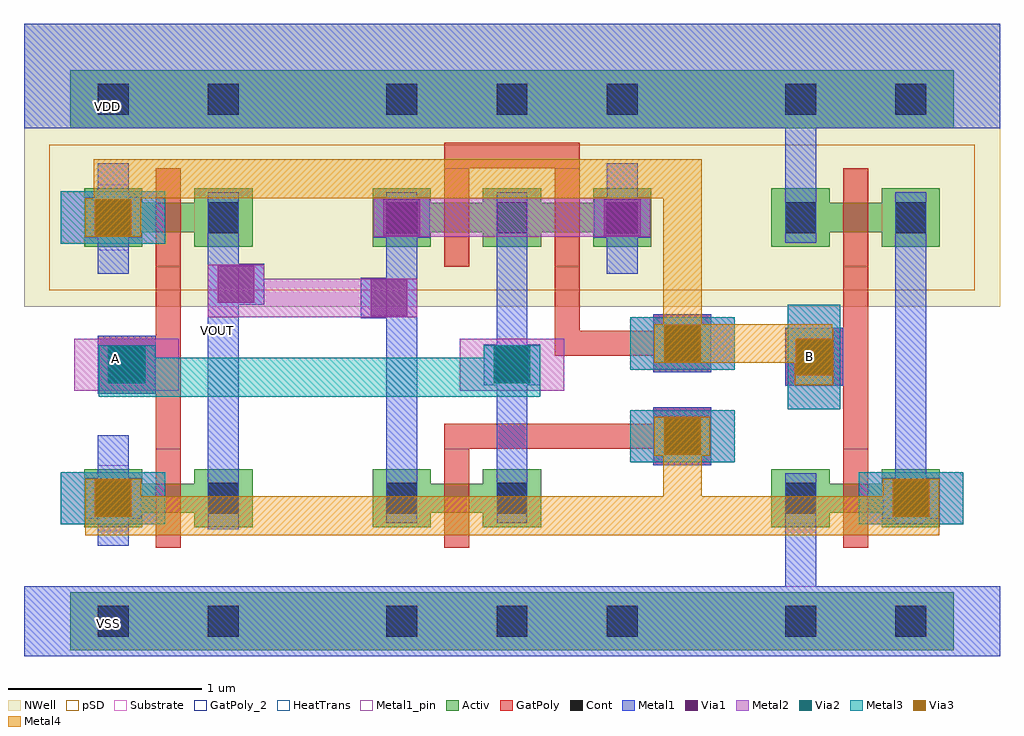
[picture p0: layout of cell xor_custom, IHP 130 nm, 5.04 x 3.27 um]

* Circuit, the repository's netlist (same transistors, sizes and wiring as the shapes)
* Extracted by KLayout with SG13G2 LVS runset on : 02/03/2026 17:46

.SUBCKT xor_custom A B VOUT VSS VDD
X$1 VSS A \$2 VOUT B VDD tg_custom
X$2 VDD A VSS \$2 VOUT B inv_xor
X$3 VDD B VSS \$2 inv
.ENDS xor_custom

.SUBCKT inv_xor VBP VIN VBN VSS VOUT VDD
M$1 VSS VIN VOUT VBN sg13_lv_nmos L=0.13u W=0.15u AS=0.1005p AD=0.1005p
+ PS=1.34u PD=1.34u
M$2 VDD VIN VOUT VBP sg13_lv_pmos L=0.13u W=0.15u AS=0.1005p AD=0.1005p
+ PS=1.34u PD=1.34u
.ENDS inv_xor

.SUBCKT tg_custom VBN VOUT VSN VIN VSP VBP
M$1 VIN VSN VOUT VBN sg13_lv_nmos L=0.13u W=0.15u AS=0.1005p AD=0.1005p
+ PS=1.34u PD=1.34u
M$2 VIN VSP VOUT VBP sg13_lv_pmos L=0.13u W=0.3u AS=0.156p AD=0.156p PS=2.08u
+ PD=2.08u
.ENDS tg_custom

.SUBCKT inv VDD VIN VSS VOUT
M$1 VSS VIN VOUT VSS sg13_lv_nmos L=0.13u W=0.15u AS=0.1005p AD=0.1005p
+ PS=1.34u PD=1.34u
M$2 VDD VIN VOUT VDD sg13_lv_pmos L=0.13u W=0.15u AS=0.1005p AD=0.1005p
+ PS=1.34u PD=1.34u
.ENDS inv

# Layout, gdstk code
import gdstk
lib = gdstk.Library(unit=1e-6, precision=5e-09)
def R(c, l, rs):  # rectangles x0, y0, x1, y1
    for r in rs: c.add(gdstk.rectangle(r[:2], r[2:], *l))
def A(c, l, x, y, w, h, nx, ny, dx, dy):  # array of equal rectangles
    R(c, l, [(x+i*dx, y+j*dy, x+i*dx+w, y+j*dy+h) for i in range(nx) for j in range(ny)])
Activ = (1, 0)
GatPoly = (5, 0)
GatPoly_2 = (5, 2)
Cont = (6, 0)
Metal1 = (8, 0)
Metal1_pin = (8, 2)
Metal2 = (10, 0)
pSD = (14, 0)
Via1 = (19, 0)
Via2 = (29, 0)
Metal3 = (30, 0)
NWell = (31, 0)
Substrate = (40, 0)
Via3 = (49, 0)
Metal4 = (50, 0)
HeatTrans = (51, 0)

pmos_1 = lib.new_cell('pmos$1')
R(pmos_1, Activ, [(0,0,0.3,0.3), (0.57,0,0.87,0.3), (0,0.075,0.87,0.225)])
R(pmos_1, GatPoly, [(0.37,-0.105,0.5,0.405), (0.37,-0.105,0.5,0.405)])
R(pmos_1, Cont, [(0.07,0.07,0.23,0.23), (0.64,0.07,0.8,0.23)])
R(pmos_1, Metal1, [(0.07,0.02,0.23,0.28), (0.07,0.02,0.23,0.28), (0.64,0.02,0.8,0.28), (0.64,0.02,0.8,0.28)])
R(pmos_1, pSD, [(-0.18,-0.225,1.05,0.525)])
R(pmos_1, NWell, [(-0.31,-0.31,1.18,0.61)])
R(pmos_1, Substrate, [(0.57,0,0.87,0.3)])
R(pmos_1, HeatTrans, [(0.37,-0.105,0.5,0.405)])
pmos_1.add(gdstk.Label('pmos', (0.435,0.15), layer=63, texttype=0))
pmos_1.add(gdstk.Label('pmos', (0.435,0.15), layer=51, texttype=0))

nmos_1 = lib.new_cell('nmos$1')
R(nmos_1, Activ, [(0,0,0.3,0.3), (0.57,0,0.87,0.3), (0,0.075,0.87,0.225)])
R(nmos_1, GatPoly, [(0.37,-0.105,0.5,0.405)])
R(nmos_1, GatPoly_2, [(0.37,-0.105,0.5,0.405)])
R(nmos_1, Cont, [(0.07,0.07,0.23,0.23), (0.64,0.07,0.8,0.23)])
R(nmos_1, Metal1, [(0.07,0.02,0.23,0.28), (0.64,0.02,0.8,0.28)])
R(nmos_1, Metal1_pin, [(0.07,0.02,0.23,0.28), (0.64,0.02,0.8,0.28)])
R(nmos_1, HeatTrans, [(0.37,-0.105,0.5,0.405)])
nmos_1.add(gdstk.Label('nmos', (0.435,0.15), layer=63, texttype=0))
nmos_1.add(gdstk.Label('nmos', (0.435,0.15), layer=51, texttype=0))

pmos_1_1 = lib.new_cell('pmos$1$1')
R(pmos_1_1, Activ, [(0,0,0.3,0.3), (0.57,0,0.87,0.3), (0,0.075,0.87,0.225)])
R(pmos_1_1, GatPoly, [(0.37,-0.105,0.5,0.405), (0.37,-0.105,0.5,0.405)])
R(pmos_1_1, Cont, [(0.07,0.07,0.23,0.23), (0.64,0.07,0.8,0.23)])
R(pmos_1_1, Metal1, [(0.07,0.02,0.23,0.28), (0.07,0.02,0.23,0.28), (0.64,0.02,0.8,0.28), (0.64,0.02,0.8,0.28)])
R(pmos_1_1, pSD, [(-0.18,-0.225,1.05,0.525)])
R(pmos_1_1, NWell, [(-0.31,-0.31,1.18,0.61)])
R(pmos_1_1, Substrate, [(0.57,0,0.87,0.3)])
R(pmos_1_1, HeatTrans, [(0.37,-0.105,0.5,0.405)])
pmos_1_1.add(gdstk.Label('pmos', (0.435,0.15), layer=63, texttype=0))
pmos_1_1.add(gdstk.Label('pmos', (0.435,0.15), layer=51, texttype=0))

nmos_1_1 = lib.new_cell('nmos$1$1')
R(nmos_1_1, Activ, [(0,0,0.3,0.3), (0.57,0,0.87,0.3), (0,0.075,0.87,0.225)])
R(nmos_1_1, GatPoly, [(0.37,-0.105,0.5,0.405)])
R(nmos_1_1, GatPoly_2, [(0.37,-0.105,0.5,0.405)])
R(nmos_1_1, Cont, [(0.07,0.07,0.23,0.23), (0.64,0.07,0.8,0.23)])
R(nmos_1_1, Metal1, [(0.07,0.02,0.23,0.28), (0.64,0.02,0.8,0.28)])
R(nmos_1_1, Metal1_pin, [(0.07,0.02,0.23,0.28), (0.64,0.02,0.8,0.28)])
R(nmos_1_1, HeatTrans, [(0.37,-0.105,0.5,0.405)])
nmos_1_1.add(gdstk.Label('nmos', (0.435,0.15), layer=63, texttype=0))
nmos_1_1.add(gdstk.Label('nmos', (0.435,0.15), layer=51, texttype=0))

inv = lib.new_cell('inv')
R(inv, Activ, [(0.48,-0.04,1.49,0.26), (0.48,-0.04,1.49,0.26), (0.48,2.655,1.49,2.955), (0.48,2.655,1.49,2.955)])
R(inv, GatPoly, [(0.92,0.76,1.05,2.45), (0.92,0.76,1.05,2.45), (0.62,1.325,0.92,1.625), (0.62,1.325,0.92,1.625)])
R(inv, Cont, [(0.62,0.03,0.78,0.19), (0.62,0.03,0.78,0.19), (1.19,0.03,1.35,0.19), (1.19,0.03,1.35,0.19), (0.69,1.395,0.85,1.555), (0.69,1.395,0.85,1.555), (0.62,2.725,0.78,2.885), (0.62,2.725,0.78,2.885), (1.19,2.725,1.35,2.885), (1.19,2.725,1.35,2.885)])
R(inv, Metal1, [(0.24,-0.07,1.73,0.29), (0.24,-0.07,1.73,0.29), (0.62,-0.04,0.78,0.875), (0.62,-0.04,0.78,0.875), (1.19,0.615,1.35,2.325), (1.19,0.615,1.35,2.325), (0.62,1.325,0.92,1.625), (0.62,1.325,0.92,1.625), (0.62,2.065,0.78,2.955), (0.62,2.065,0.78,2.955), (0.24,2.655,1.73,3.195), (0.24,2.655,1.73,3.195)])
R(inv, Metal1_pin, [(0.24,-0.07,1.73,0.29), (0.24,-0.07,1.73,0.29), (1.19,0.615,1.35,2.325), (1.19,0.615,1.35,2.325), (0.62,1.325,0.92,1.625), (0.62,1.325,0.92,1.625), (0.24,2.655,1.73,3.195), (0.24,2.655,1.73,3.195)])
R(inv, pSD, [(0.24,-0.07,1.73,0.29), (0.24,-0.07,1.73,0.29)])
R(inv, NWell, [(0.24,2.655,1.73,3.195), (0.24,2.655,1.73,3.195)])
inv.add(gdstk.Reference(pmos_1, (0.55,2.045)))
inv.add(gdstk.Reference(nmos_1, (0.55,0.595)))
inv.add(gdstk.Reference(pmos_1_1, (0.55,2.045)))
inv.add(gdstk.Reference(nmos_1_1, (0.55,0.595)))
inv.add(gdstk.Label('VSS', (0.64,0.09), layer=8, texttype=25))
inv.add(gdstk.Label('VDD', (0.675,2.805), layer=8, texttype=25))
inv.add(gdstk.Label('VIN', (0.73,1.475), layer=8, texttype=25))
inv.add(gdstk.Label('VOUT', (1.2,1.665), layer=8, texttype=25))
inv.add(gdstk.Label('VSS', (0.64,0.09), layer=8, texttype=25))
inv.add(gdstk.Label('VDD', (0.675,2.805), layer=8, texttype=25))
inv.add(gdstk.Label('VIN', (0.73,1.475), layer=8, texttype=25))
inv.add(gdstk.Label('VOUT', (1.2,1.665), layer=8, texttype=25))

nmos = lib.new_cell('nmos')
R(nmos, Activ, [(0,0,0.3,0.3), (0.57,0,0.87,0.3), (0,0.075,0.87,0.225)])
R(nmos, GatPoly, [(0.37,-0.105,0.5,0.405)])
R(nmos, GatPoly_2, [(0.37,-0.105,0.5,0.405)])
R(nmos, Cont, [(0.07,0.07,0.23,0.23), (0.64,0.07,0.8,0.23)])
R(nmos, Metal1, [(0.07,0.02,0.23,0.28), (0.64,0.02,0.8,0.28)])
R(nmos, Metal1_pin, [(0.07,0.02,0.23,0.28), (0.64,0.02,0.8,0.28)])
R(nmos, HeatTrans, [(0.37,-0.105,0.5,0.405)])
nmos.add(gdstk.Label('nmos', (0.435,0.15), layer=63, texttype=0))
nmos.add(gdstk.Label('nmos', (0.435,0.15), layer=51, texttype=0))

pmos = lib.new_cell('pmos')
A(pmos, Activ, 0, 0, 0.3, 0.3, 3, 1, 0.57, 0)
R(pmos, Activ, [(0,0.075,1.44,0.225)])
R(pmos, GatPoly, [(0.37,-0.105,0.5,0.405), (0.37,-0.105,0.5,0.405), (0.94,-0.105,1.07,0.405)])
A(pmos, Cont, 0.07, 0.07, 0.16, 0.16, 3, 1, 0.57, 0)
R(pmos, Metal1, [(0.07,0.02,0.23,0.28), (0.07,0.02,0.23,0.28), (0.64,0.02,0.8,0.28), (0.64,0.02,0.8,0.28), (1.21,0.02,1.37,0.28)])
R(pmos, pSD, [(-0.18,-0.225,1.62,0.525)])
R(pmos, NWell, [(-0.31,-0.31,1.75,0.61)])
R(pmos, Substrate, [(1.14,0,1.44,0.3)])
R(pmos, HeatTrans, [(0.37,-0.105,0.5,0.405), (0.94,-0.105,1.07,0.405)])
pmos.add(gdstk.Label('pmos', (0.435,0.15), layer=63, texttype=0))
pmos.add(gdstk.Label('pmos', (0.435,0.15), layer=51, texttype=0))
pmos.add(gdstk.Label('pmos', (1.005,0.15), layer=51, texttype=0))

nmos_1_2 = lib.new_cell('nmos$1$2')
R(nmos_1_2, Activ, [(0,0,0.3,0.3), (0.57,0,0.87,0.3), (0,0.075,0.87,0.225)])
R(nmos_1_2, GatPoly, [(0.37,-0.105,0.5,0.405)])
R(nmos_1_2, GatPoly_2, [(0.37,-0.105,0.5,0.405)])
R(nmos_1_2, Cont, [(0.07,0.07,0.23,0.23), (0.64,0.07,0.8,0.23)])
R(nmos_1_2, Metal1, [(0.07,0.02,0.23,0.28), (0.64,0.02,0.8,0.28)])
R(nmos_1_2, Metal1_pin, [(0.07,0.02,0.23,0.28), (0.64,0.02,0.8,0.28)])
R(nmos_1_2, HeatTrans, [(0.37,-0.105,0.5,0.405)])
nmos_1_2.add(gdstk.Label('nmos', (0.435,0.15), layer=63, texttype=0))
nmos_1_2.add(gdstk.Label('nmos', (0.435,0.15), layer=51, texttype=0))

pmos_1_2 = lib.new_cell('pmos$1$2')
A(pmos_1_2, Activ, 0, 0, 0.3, 0.3, 3, 1, 0.57, 0)
R(pmos_1_2, Activ, [(0,0.075,1.44,0.225)])
R(pmos_1_2, GatPoly, [(0.37,-0.105,0.5,0.405), (0.37,-0.105,0.5,0.405), (0.94,-0.105,1.07,0.405)])
A(pmos_1_2, Cont, 0.07, 0.07, 0.16, 0.16, 3, 1, 0.57, 0)
R(pmos_1_2, Metal1, [(0.07,0.02,0.23,0.28), (0.07,0.02,0.23,0.28), (0.64,0.02,0.8,0.28), (0.64,0.02,0.8,0.28), (1.21,0.02,1.37,0.28)])
R(pmos_1_2, pSD, [(-0.18,-0.225,1.62,0.525)])
R(pmos_1_2, NWell, [(-0.31,-0.31,1.75,0.61)])
R(pmos_1_2, Substrate, [(1.14,0,1.44,0.3)])
R(pmos_1_2, HeatTrans, [(0.37,-0.105,0.5,0.405), (0.94,-0.105,1.07,0.405)])
pmos_1_2.add(gdstk.Label('pmos', (0.435,0.15), layer=63, texttype=0))
pmos_1_2.add(gdstk.Label('pmos', (0.435,0.15), layer=51, texttype=0))
pmos_1_2.add(gdstk.Label('pmos', (1.005,0.15), layer=51, texttype=0))

nmos_2 = lib.new_cell('nmos$2')
R(nmos_2, Activ, [(0,0,0.3,0.3), (0.57,0,0.87,0.3), (0,0.075,0.87,0.225)])
R(nmos_2, GatPoly, [(0.37,-0.105,0.5,0.405)])
R(nmos_2, GatPoly_2, [(0.37,-0.105,0.5,0.405)])
R(nmos_2, Cont, [(0.07,0.07,0.23,0.23), (0.64,0.07,0.8,0.23)])
R(nmos_2, Metal1, [(0.07,0.02,0.23,0.28), (0.64,0.02,0.8,0.28)])
R(nmos_2, Metal1_pin, [(0.07,0.02,0.23,0.28), (0.64,0.02,0.8,0.28)])
R(nmos_2, HeatTrans, [(0.37,-0.105,0.5,0.405)])
nmos_2.add(gdstk.Label('nmos', (0.435,0.15), layer=63, texttype=0))
nmos_2.add(gdstk.Label('nmos', (0.435,0.15), layer=51, texttype=0))

pmos_2 = lib.new_cell('pmos$2')
A(pmos_2, Activ, 0, 0, 0.3, 0.3, 3, 1, 0.57, 0)
R(pmos_2, Activ, [(0,0.075,1.44,0.225)])
R(pmos_2, GatPoly, [(0.37,-0.105,0.5,0.405), (0.37,-0.105,0.5,0.405), (0.94,-0.105,1.07,0.405)])
A(pmos_2, Cont, 0.07, 0.07, 0.16, 0.16, 3, 1, 0.57, 0)
R(pmos_2, Metal1, [(0.07,0.02,0.23,0.28), (0.07,0.02,0.23,0.28), (0.64,0.02,0.8,0.28), (0.64,0.02,0.8,0.28), (1.21,0.02,1.37,0.28)])
R(pmos_2, pSD, [(-0.18,-0.225,1.62,0.525)])
R(pmos_2, NWell, [(-0.31,-0.31,1.75,0.61)])
R(pmos_2, Substrate, [(1.14,0,1.44,0.3)])
R(pmos_2, HeatTrans, [(0.37,-0.105,0.5,0.405), (0.94,-0.105,1.07,0.405)])
pmos_2.add(gdstk.Label('pmos', (0.435,0.15), layer=63, texttype=0))
pmos_2.add(gdstk.Label('pmos', (0.435,0.15), layer=51, texttype=0))
pmos_2.add(gdstk.Label('pmos', (1.005,0.15), layer=51, texttype=0))

nmos_1_3 = lib.new_cell('nmos$1$3')
R(nmos_1_3, Activ, [(0,0,0.3,0.3), (0.57,0,0.87,0.3), (0,0.075,0.87,0.225)])
R(nmos_1_3, GatPoly, [(0.37,-0.105,0.5,0.405)])
R(nmos_1_3, GatPoly_2, [(0.37,-0.105,0.5,0.405)])
R(nmos_1_3, Cont, [(0.07,0.07,0.23,0.23), (0.64,0.07,0.8,0.23)])
R(nmos_1_3, Metal1, [(0.07,0.02,0.23,0.28), (0.64,0.02,0.8,0.28)])
R(nmos_1_3, Metal1_pin, [(0.07,0.02,0.23,0.28), (0.64,0.02,0.8,0.28)])
R(nmos_1_3, HeatTrans, [(0.37,-0.105,0.5,0.405)])
nmos_1_3.add(gdstk.Label('nmos', (0.435,0.15), layer=63, texttype=0))
nmos_1_3.add(gdstk.Label('nmos', (0.435,0.15), layer=51, texttype=0))

pmos_1_3 = lib.new_cell('pmos$1$3')
A(pmos_1_3, Activ, 0, 0, 0.3, 0.3, 3, 1, 0.57, 0)
R(pmos_1_3, Activ, [(0,0.075,1.44,0.225)])
R(pmos_1_3, GatPoly, [(0.37,-0.105,0.5,0.405), (0.37,-0.105,0.5,0.405), (0.94,-0.105,1.07,0.405)])
A(pmos_1_3, Cont, 0.07, 0.07, 0.16, 0.16, 3, 1, 0.57, 0)
R(pmos_1_3, Metal1, [(0.07,0.02,0.23,0.28), (0.07,0.02,0.23,0.28), (0.64,0.02,0.8,0.28), (0.64,0.02,0.8,0.28), (1.21,0.02,1.37,0.28)])
R(pmos_1_3, pSD, [(-0.18,-0.225,1.62,0.525)])
R(pmos_1_3, NWell, [(-0.31,-0.31,1.75,0.61)])
R(pmos_1_3, Substrate, [(1.14,0,1.44,0.3)])
R(pmos_1_3, HeatTrans, [(0.37,-0.105,0.5,0.405), (0.94,-0.105,1.07,0.405)])
pmos_1_3.add(gdstk.Label('pmos', (0.435,0.15), layer=63, texttype=0))
pmos_1_3.add(gdstk.Label('pmos', (0.435,0.15), layer=51, texttype=0))
pmos_1_3.add(gdstk.Label('pmos', (1.005,0.15), layer=51, texttype=0))

tg_custom = lib.new_cell('tg_custom')
R(tg_custom, Activ, [(0.445,0.87,2.025,1.17), (0.445,0.87,2.025,1.17), (0.445,0.87,2.025,1.17), (0.445,0.87,2.025,1.17), (0.445,3.565,2.025,3.865), (0.445,3.565,2.025,3.865), (0.445,3.565,2.025,3.865), (0.445,3.565,2.025,3.865)])
R(tg_custom, GatPoly, [(1.965,1.825,2.265,2.125), (1.965,1.825,2.265,2.125), (1.965,1.825,2.265,2.125), (1.965,1.825,2.265,2.125), (0.885,1.91,1.965,2.04), (0.885,1.91,1.965,2.04), (0.885,1.91,1.965,2.04), (0.885,1.91,1.965,2.04), (1.965,2.305,2.265,2.605), (1.965,2.305,2.265,2.605), (1.965,2.305,2.265,2.605), (1.965,2.305,2.265,2.605), (1.455,2.39,1.585,2.85), (1.455,2.39,1.585,2.85), (1.455,2.39,1.585,2.85), (1.455,2.39,1.585,2.85), (1.455,2.39,1.965,2.52), (1.455,2.39,1.965,2.52), (1.455,2.39,1.965,2.52), (1.455,2.39,1.965,2.52), (0.885,3.36,1.585,3.49), (0.885,3.36,1.585,3.49), (0.885,3.36,1.585,3.49), (0.885,3.36,1.585,3.49)])
R(tg_custom, Cont, [(0.585,0.94,0.745,1.1), (0.585,0.94,0.745,1.1), (0.585,0.94,0.745,1.1), (0.585,0.94,0.745,1.1), (1.155,0.94,1.315,1.1), (1.155,0.94,1.315,1.1), (1.155,0.94,1.315,1.1), (1.155,0.94,1.315,1.1), (1.725,0.94,1.885,1.1), (1.725,0.94,1.885,1.1), (1.725,0.94,1.885,1.1), (1.725,0.94,1.885,1.1), (2.035,1.895,2.195,2.055), (2.035,1.895,2.195,2.055), (2.035,1.895,2.195,2.055), (2.035,1.895,2.195,2.055), (2.035,2.375,2.195,2.535), (2.035,2.375,2.195,2.535), (2.035,2.375,2.195,2.535), (2.035,2.375,2.195,2.535), (0.585,3.635,0.745,3.795), (0.585,3.635,0.745,3.795), (0.585,3.635,0.745,3.795), (0.585,3.635,0.745,3.795), (1.155,3.635,1.315,3.795), (1.155,3.635,1.315,3.795), (1.155,3.635,1.315,3.795), (1.155,3.635,1.315,3.795), (1.725,3.635,1.885,3.795), (1.725,3.635,1.885,3.795), (1.725,3.635,1.885,3.795), (1.725,3.635,1.885,3.795)])
R(tg_custom, Metal1, [(0.205,0.84,2.265,1.2), (0.205,0.84,2.265,1.2), (0.205,0.84,2.265,1.2), (0.205,0.84,2.265,1.2), (0.585,1.525,0.745,3.235), (0.585,1.525,0.745,3.235), (0.585,1.525,0.745,3.235), (0.585,1.525,0.745,3.235), (1.155,1.525,1.315,3.235), (1.155,1.525,1.315,3.235), (1.155,1.525,1.315,3.235), (1.155,1.525,1.315,3.235), (1.965,1.825,2.265,2.125), (1.965,1.825,2.265,2.125), (1.965,1.825,2.265,2.125), (1.965,1.825,2.265,2.125), (1.965,2.305,2.265,2.605), (1.965,2.305,2.265,2.605), (1.965,2.305,2.265,2.605), (1.965,2.305,2.265,2.605), (1.725,2.815,1.885,3.385), (1.725,2.815,1.885,3.385), (1.725,2.815,1.885,3.385), (1.725,2.815,1.885,3.385), (0.52,3,0.81,3.21), (0.52,3,0.81,3.21), (0.52,3,0.81,3.21), (0.52,3,0.81,3.21), (1.66,3,1.95,3.21), (1.66,3,1.95,3.21), (1.66,3,1.95,3.21), (1.66,3,1.95,3.21), (0.205,3.565,2.265,4.105), (0.205,3.565,2.265,4.105), (0.205,3.565,2.265,4.105), (0.205,3.565,2.265,4.105)])
R(tg_custom, Metal1_pin, [(0.205,0.84,2.265,1.2), (0.205,0.84,2.265,1.2), (0.205,0.84,2.265,1.2), (0.205,0.84,2.265,1.2), (0.585,1.525,0.745,3.235), (0.585,1.525,0.745,3.235), (0.585,1.525,0.745,3.235), (0.585,1.525,0.745,3.235), (1.155,1.525,1.315,3.235), (1.155,1.525,1.315,3.235), (1.155,1.525,1.315,3.235), (1.155,1.525,1.315,3.235), (1.965,1.825,2.265,2.125), (1.965,1.825,2.265,2.125), (1.965,1.825,2.265,2.125), (1.965,1.825,2.265,2.125), (1.965,2.305,2.265,2.605), (1.965,2.305,2.265,2.605), (1.965,2.305,2.265,2.605), (1.965,2.305,2.265,2.605), (0.205,3.565,2.265,4.105), (0.205,3.565,2.265,4.105), (0.205,3.565,2.265,4.105), (0.205,3.565,2.265,4.105)])
R(tg_custom, Metal2, [(0.52,3.005,1.95,3.205), (0.52,3.005,1.95,3.205), (0.52,3.005,1.95,3.205), (0.52,3.005,1.95,3.205), (0.52,3.005,0.81,3.205), (0.52,3.005,0.81,3.205), (0.52,3.005,0.81,3.205), (0.52,3.005,0.81,3.205), (1.66,3.005,1.95,3.205), (1.66,3.005,1.95,3.205), (1.66,3.005,1.95,3.205), (1.66,3.005,1.95,3.205)])
R(tg_custom, pSD, [(0.205,0.84,2.265,1.2), (0.205,0.84,2.265,1.2), (0.205,0.84,2.265,1.2), (0.205,0.84,2.265,1.2)])
R(tg_custom, Via1, [(0.57,3.01,0.76,3.2), (0.57,3.01,0.76,3.2), (0.57,3.01,0.76,3.2), (0.57,3.01,0.76,3.2), (1.71,3.01,1.9,3.2), (1.71,3.01,1.9,3.2), (1.71,3.01,1.9,3.2), (1.71,3.01,1.9,3.2)])
R(tg_custom, NWell, [(0.205,3.565,2.265,4.105), (0.205,3.565,2.265,4.105), (0.205,3.565,2.265,4.105), (0.205,3.565,2.265,4.105)])
tg_custom.add(gdstk.Reference(nmos, (0.515,1.505)))
tg_custom.add(gdstk.Reference(pmos, (0.515,2.955)))
tg_custom.add(gdstk.Reference(nmos_1_2, (0.515,1.505)))
tg_custom.add(gdstk.Reference(pmos_1_2, (0.515,2.955)))
tg_custom.add(gdstk.Reference(nmos_2, (0.515,1.505)))
tg_custom.add(gdstk.Reference(pmos_2, (0.515,2.955)))
tg_custom.add(gdstk.Reference(nmos_1_3, (0.515,1.505)))
tg_custom.add(gdstk.Reference(pmos_1_3, (0.515,2.955)))
tg_custom.add(gdstk.Label('VBN', (1.335,1.02), layer=8, texttype=25))
tg_custom.add(gdstk.Label('VOUT', (1.16,1.98), layer=8, texttype=25))
tg_custom.add(gdstk.Label('VSP', (2.115,2.455), layer=8, texttype=25))
tg_custom.add(gdstk.Label('VIN', (0.6,3.21), layer=8, texttype=25))
tg_custom.add(gdstk.Label('VSN', (2.115,1.975), layer=8, texttype=25))
tg_custom.add(gdstk.Label('VBP', (1.235,3.715), layer=8, texttype=25))
tg_custom.add(gdstk.Label('VBN', (1.335,1.02), layer=8, texttype=25))
tg_custom.add(gdstk.Label('VOUT', (1.16,1.98), layer=8, texttype=25))
tg_custom.add(gdstk.Label('VSP', (2.115,2.455), layer=8, texttype=25))
tg_custom.add(gdstk.Label('VIN', (0.6,3.21), layer=8, texttype=25))
tg_custom.add(gdstk.Label('VSN', (2.115,1.975), layer=8, texttype=25))
tg_custom.add(gdstk.Label('VBP', (1.235,3.715), layer=8, texttype=25))
tg_custom.add(gdstk.Label('VBN', (1.335,1.02), layer=8, texttype=25))
tg_custom.add(gdstk.Label('VOUT', (1.16,1.98), layer=8, texttype=25))
tg_custom.add(gdstk.Label('VSP', (2.115,2.455), layer=8, texttype=25))
tg_custom.add(gdstk.Label('VIN', (0.6,3.21), layer=8, texttype=25))
tg_custom.add(gdstk.Label('VSN', (2.115,1.975), layer=8, texttype=25))
tg_custom.add(gdstk.Label('VBP', (1.235,3.715), layer=8, texttype=25))
tg_custom.add(gdstk.Label('VBN', (1.335,1.02), layer=8, texttype=25))
tg_custom.add(gdstk.Label('VOUT', (1.16,1.98), layer=8, texttype=25))
tg_custom.add(gdstk.Label('VSP', (2.115,2.455), layer=8, texttype=25))
tg_custom.add(gdstk.Label('VIN', (0.6,3.21), layer=8, texttype=25))
tg_custom.add(gdstk.Label('VSN', (2.115,1.975), layer=8, texttype=25))
tg_custom.add(gdstk.Label('VBP', (1.235,3.715), layer=8, texttype=25))

pmos_3 = lib.new_cell('pmos$3')
R(pmos_3, Activ, [(0,0,0.3,0.3), (0.57,0,0.87,0.3), (0,0.075,0.87,0.225)])
R(pmos_3, GatPoly, [(0.37,-0.105,0.5,0.405), (0.37,-0.105,0.5,0.405)])
R(pmos_3, Cont, [(0.07,0.07,0.23,0.23), (0.64,0.07,0.8,0.23)])
R(pmos_3, Metal1, [(0.07,0.02,0.23,0.28), (0.07,0.02,0.23,0.28), (0.64,0.02,0.8,0.28), (0.64,0.02,0.8,0.28)])
R(pmos_3, pSD, [(-0.18,-0.225,1.05,0.525)])
R(pmos_3, NWell, [(-0.31,-0.31,1.18,0.61)])
R(pmos_3, Substrate, [(0.57,0,0.87,0.3)])
R(pmos_3, HeatTrans, [(0.37,-0.105,0.5,0.405)])
pmos_3.add(gdstk.Label('pmos', (0.435,0.15), layer=63, texttype=0))
pmos_3.add(gdstk.Label('pmos', (0.435,0.15), layer=51, texttype=0))

nmos_3 = lib.new_cell('nmos$3')
R(nmos_3, Activ, [(0,0,0.3,0.3), (0.57,0,0.87,0.3), (0,0.075,0.87,0.225)])
R(nmos_3, GatPoly, [(0.37,-0.105,0.5,0.405)])
R(nmos_3, GatPoly_2, [(0.37,-0.105,0.5,0.405)])
R(nmos_3, Cont, [(0.07,0.07,0.23,0.23), (0.64,0.07,0.8,0.23)])
R(nmos_3, Metal1, [(0.07,0.02,0.23,0.28), (0.64,0.02,0.8,0.28)])
R(nmos_3, Metal1_pin, [(0.07,0.02,0.23,0.28), (0.64,0.02,0.8,0.28)])
R(nmos_3, HeatTrans, [(0.37,-0.105,0.5,0.405)])
nmos_3.add(gdstk.Label('nmos', (0.435,0.15), layer=63, texttype=0))
nmos_3.add(gdstk.Label('nmos', (0.435,0.15), layer=51, texttype=0))

pmos_4 = lib.new_cell('pmos$4')
R(pmos_4, Activ, [(0,0,0.3,0.3), (0.57,0,0.87,0.3), (0,0.075,0.87,0.225)])
R(pmos_4, GatPoly, [(0.37,-0.105,0.5,0.405), (0.37,-0.105,0.5,0.405)])
R(pmos_4, Cont, [(0.07,0.07,0.23,0.23), (0.64,0.07,0.8,0.23)])
R(pmos_4, Metal1, [(0.07,0.02,0.23,0.28), (0.07,0.02,0.23,0.28), (0.64,0.02,0.8,0.28), (0.64,0.02,0.8,0.28)])
R(pmos_4, pSD, [(-0.18,-0.225,1.05,0.525)])
R(pmos_4, NWell, [(-0.31,-0.31,1.18,0.61)])
R(pmos_4, Substrate, [(0.57,0,0.87,0.3)])
R(pmos_4, HeatTrans, [(0.37,-0.105,0.5,0.405)])
pmos_4.add(gdstk.Label('pmos', (0.435,0.15), layer=63, texttype=0))
pmos_4.add(gdstk.Label('pmos', (0.435,0.15), layer=51, texttype=0))

nmos_4 = lib.new_cell('nmos$4')
R(nmos_4, Activ, [(0,0,0.3,0.3), (0.57,0,0.87,0.3), (0,0.075,0.87,0.225)])
R(nmos_4, GatPoly, [(0.37,-0.105,0.5,0.405)])
R(nmos_4, GatPoly_2, [(0.37,-0.105,0.5,0.405)])
R(nmos_4, Cont, [(0.07,0.07,0.23,0.23), (0.64,0.07,0.8,0.23)])
R(nmos_4, Metal1, [(0.07,0.02,0.23,0.28), (0.64,0.02,0.8,0.28)])
R(nmos_4, Metal1_pin, [(0.07,0.02,0.23,0.28), (0.64,0.02,0.8,0.28)])
R(nmos_4, HeatTrans, [(0.37,-0.105,0.5,0.405)])
nmos_4.add(gdstk.Label('nmos', (0.435,0.15), layer=63, texttype=0))
nmos_4.add(gdstk.Label('nmos', (0.435,0.15), layer=51, texttype=0))

inv_xor = lib.new_cell('inv_xor')
R(inv_xor, Activ, [(1.29,-0.04,2.3,0.26), (1.29,-0.04,2.3,0.26), (1.29,2.655,2.3,2.955), (1.29,2.655,2.3,2.955)])
R(inv_xor, GatPoly, [(1.73,0.49,1.86,2.45), (1.73,0.49,1.86,2.45), (1.43,1.285,1.73,1.585), (1.43,1.285,1.73,1.585)])
R(inv_xor, Cont, [(1.43,0.03,1.59,0.19), (1.43,0.03,1.59,0.19), (2,0.03,2.16,0.19), (2,0.03,2.16,0.19), (1.5,1.355,1.66,1.515), (1.5,1.355,1.66,1.515), (1.43,2.725,1.59,2.885), (1.43,2.725,1.59,2.885), (2,2.725,2.16,2.885), (2,2.725,2.16,2.885)])
R(inv_xor, Metal1, [(1.05,-0.07,2.54,0.29), (1.05,-0.07,2.54,0.29), (1.43,0.5,1.59,1.07), (1.43,0.5,1.59,1.07), (2,0.585,2.16,2.325), (2,0.615,2.16,2.325), (1.43,1.285,1.73,1.585), (1.43,1.285,1.73,1.585), (1.43,1.905,1.59,2.475), (1.43,1.905,1.59,2.475), (1.05,2.655,2.54,3.195), (1.05,2.655,2.54,3.195)])
R(inv_xor, Metal1_pin, [(1.05,-0.07,2.54,0.29), (1.05,-0.07,2.54,0.29), (1.43,0.575,1.59,0.915), (1.43,0.575,1.59,0.915), (2,0.585,2.16,2.325), (2,0.585,2.16,2.325), (1.43,1.285,1.73,1.585), (1.43,1.285,1.73,1.585), (1.43,2.025,1.59,2.365), (1.43,2.025,1.59,2.365), (1.05,2.655,2.54,3.195), (1.05,2.655,2.54,3.195)])
R(inv_xor, pSD, [(1.05,-0.07,2.54,0.29), (1.05,-0.07,2.54,0.29)])
R(inv_xor, NWell, [(1.05,2.655,2.54,3.195), (1.05,2.655,2.54,3.195)])
inv_xor.add(gdstk.Reference(pmos_3, (1.36,2.045)))
inv_xor.add(gdstk.Reference(nmos_3, (1.36,0.595)))
inv_xor.add(gdstk.Reference(pmos_4, (1.36,2.045)))
inv_xor.add(gdstk.Reference(nmos_4, (1.36,0.595)))
inv_xor.add(gdstk.Label('VBN', (1.74,0.025), layer=8, texttype=25))
inv_xor.add(gdstk.Label('VSS', (1.475,0.725), layer=8, texttype=25))
inv_xor.add(gdstk.Label('VBN', (1.74,0.025), layer=8, texttype=25))
inv_xor.add(gdstk.Label('VSS', (1.475,0.725), layer=8, texttype=25))
inv_xor.add(gdstk.Label('VIN', (1.575,1.405), layer=8, texttype=25))
inv_xor.add(gdstk.Label('VOUT', (2.04,1.64), layer=8, texttype=25))
inv_xor.add(gdstk.Label('VDD', (1.47,2.18), layer=8, texttype=25))
inv_xor.add(gdstk.Label('VBP', (1.75,2.785), layer=8, texttype=25))
inv_xor.add(gdstk.Label('VIN', (1.575,1.405), layer=8, texttype=25))
inv_xor.add(gdstk.Label('VOUT', (2.04,1.64), layer=8, texttype=25))
inv_xor.add(gdstk.Label('VDD', (1.47,2.18), layer=8, texttype=25))
inv_xor.add(gdstk.Label('VBP', (1.75,2.785), layer=8, texttype=25))

xor_custom = lib.new_cell('xor_custom')
R(xor_custom, Activ, [(6.455,0.87,6.935,1.17), (8.515,0.87,8.995,1.17), (6.455,3.565,6.935,3.865), (8.515,3.565,8.995,3.865)])
R(xor_custom, Metal1, [(5.52,1.55,5.81,1.76), (9.64,1.55,9.93,1.76), (8.46,1.87,8.75,2.08), (5.59,2.24,5.88,2.45), (7.58,2.24,7.87,2.45), (9.18,2.24,9.39,2.53), (8.46,2.35,8.75,2.56), (6.945,2.585,7.235,2.795), (6.155,2.655,6.445,2.865), (5.52,3,5.81,3.21)])
R(xor_custom, Metal2, [(5.395,1.52,5.935,1.79), (9.515,1.52,10.055,1.79), (8.335,1.84,8.875,2.11), (9.15,2.115,9.42,2.655), (5.465,2.21,6.005,2.48), (7.455,2.21,7.995,2.48), (8.335,2.32,8.875,2.59), (6.155,2.59,6.445,2.86), (6.155,2.59,7.235,2.79), (6.945,2.59,7.235,2.79), (6.155,2.66,6.445,2.86), (5.395,2.97,5.935,3.24)])
R(xor_custom, pSD, [(6.565,2.73,6.825,3.48), (8.625,2.73,8.885,3.48)])
R(xor_custom, Via1, [(5.57,1.56,5.76,1.75), (9.69,1.56,9.88,1.75), (8.51,1.88,8.7,2.07), (5.64,2.25,5.83,2.44), (7.63,2.25,7.82,2.44), (9.19,2.29,9.38,2.48), (8.51,2.36,8.7,2.55), (6.995,2.595,7.185,2.785), (6.205,2.665,6.395,2.855), (5.57,3.01,5.76,3.2)])
R(xor_custom, Via2, [(5.57,1.56,5.76,1.75), (9.69,1.56,9.88,1.75), (8.51,1.88,8.7,2.07), (5.64,2.25,5.83,2.44), (7.63,2.25,7.82,2.44), (9.19,2.29,9.38,2.48), (8.51,2.36,8.7,2.55), (5.57,3.01,5.76,3.2)])
R(xor_custom, Metal3, [(5.395,1.52,5.935,1.79), (9.515,1.52,10.055,1.79), (8.335,1.84,8.875,2.11), (9.15,2.115,9.42,2.655), (5.59,2.18,7.87,2.38), (5.59,2.18,5.885,2.445), (7.58,2.18,7.87,2.445), (5.59,2.245,5.88,2.445), (7.58,2.245,7.87,2.445), (8.335,2.32,8.875,2.59), (5.395,2.97,5.935,3.24)])
R(xor_custom, Via3, [(5.57,1.56,5.76,1.75), (9.69,1.56,9.88,1.75), (8.51,1.88,8.7,2.07), (9.19,2.29,9.38,2.48), (8.51,2.36,8.7,2.55), (5.57,3.01,5.76,3.2)])
R(xor_custom, Metal4, [(5.52,1.465,9.93,1.665), (5.52,1.465,5.81,1.755), (8.505,1.465,8.705,2.075), (9.64,1.465,9.93,1.755), (5.52,1.555,5.81,1.755), (9.64,1.555,9.93,1.755), (8.46,1.875,8.75,2.075), (9.185,2.24,9.385,2.53), (9.19,2.285,9.38,2.555), (8.46,2.355,8.75,2.555), (8.46,2.355,9.38,2.555), (8.505,2.355,8.705,3.405), (5.52,3.005,5.81,3.205), (5.565,3.005,5.765,3.405), (5.565,3.205,8.705,3.405)])
xor_custom.add(gdstk.Reference(inv, (8.515,0.91)))
xor_custom.add(gdstk.Reference(tg_custom, (6.49,0)))
xor_custom.add(gdstk.Reference(inv_xor, (4.155,0.91)))
xor_custom.add(gdstk.Label('A', (5.68,2.375), layer=8, texttype=25))
xor_custom.add(gdstk.Label('VSS', (5.64,1.01), layer=8, texttype=25))
xor_custom.add(gdstk.Label('VDD', (5.635,3.68), layer=8, texttype=25))
xor_custom.add(gdstk.Label('B', (9.26,2.385), layer=8, texttype=25))
xor_custom.add(gdstk.Label('VOUT', (6.205,2.52), layer=8, texttype=25))

lib.write_gds('xor_custom.gds')
